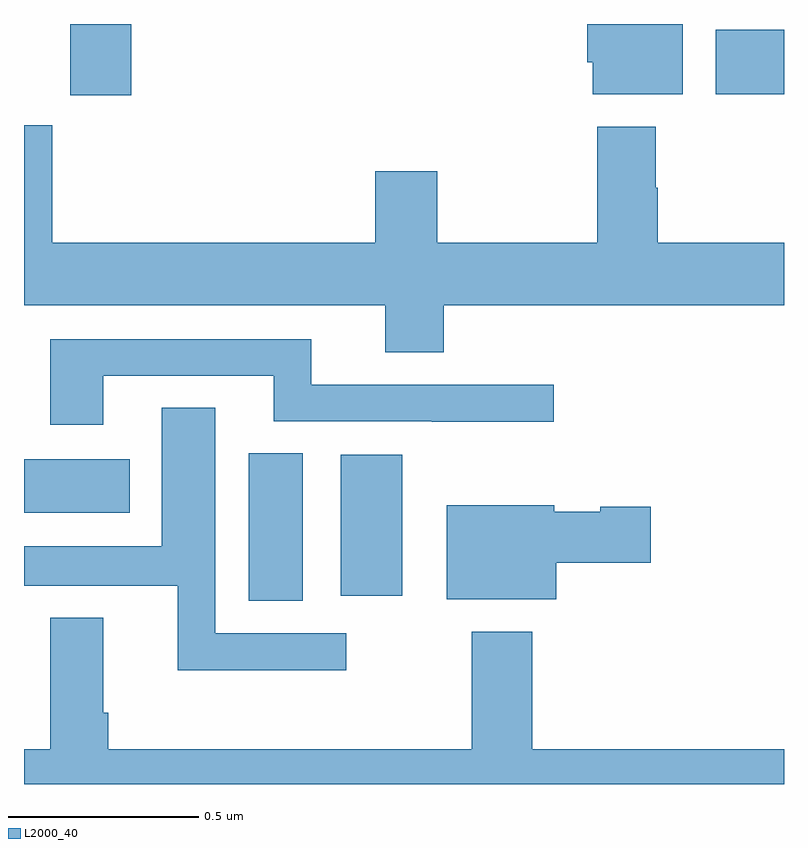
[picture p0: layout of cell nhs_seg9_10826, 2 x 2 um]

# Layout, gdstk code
import gdstk
lib = gdstk.Library(unit=1e-6, precision=1e-09)
def R(c, l, rs):  # rectangles x0, y0, x1, y1
    for r in rs: c.add(gdstk.rectangle(r[:2], r[2:], *l))
def P(c, l, *ps):  # polygons
    for p in ps: c.add(gdstk.Polygon(p, *l))
L2000_40 = (2000, 40)

nhs_seg9_10826 = lib.new_cell('nhs_seg9_10826')
R(nhs_seg9_10826, L2000_40, [(248.591,1188.982,248.734,1189.37), (248.834,1188.996,248.995,1189.366), (248,1189.214,248.278,1189.354), (248.122,1190.313,248.282,1190.5), (249.821,1190.315,250,1190.485)])
P(nhs_seg9_10826, L2000_40, [(249.733,1190.5),(249.482,1190.5),(249.482,1190.4),(249.497,1190.4),(249.497,1190.315),(249.733,1190.315)],
  [(248.924,1190.113),(248.924,1189.924),(248.074,1189.924),(248.074,1190.233),(248,1190.233),(248,1189.76),(248.951,1189.76),(248.951,1189.636),(249.104,1189.636),(249.104,1189.76),(250,1189.76),(250,1189.924),(249.668,1189.924),(249.668,1190.069),(249.663,1190.069),(249.663,1190.23),(249.508,1190.23),(249.508,1189.924),(249.088,1189.924),(249.088,1190.113)],
  [(248.209,1189.575),(248.657,1189.575),(248.657,1189.455),(249.073,1189.455),(249.073,1189.453),(249.394,1189.453),(249.394,1189.551),(248.756,1189.551),(248.756,1189.671),(248.069,1189.671),(248.069,1189.446),(248.209,1189.446)],
  [(248.848,1188.897),(248.503,1188.897),(248.503,1189.49),(248.363,1189.49),(248.363,1189.126),(248,1189.126),(248,1189.022),(248.405,1189.022),(248.405,1188.8),(248.848,1188.8)],
  [(249.4,1189.082),(249.649,1189.082),(249.649,1189.229),(249.516,1189.229),(249.516,1189.216),(249.396,1189.216),(249.396,1189.234),(249.113,1189.234),(249.113,1188.986),(249.4,1188.986)],
  [(250,1188.592),(249.338,1188.592),(249.338,1188.901),(249.178,1188.901),(249.178,1188.592),(248.222,1188.592),(248.222,1188.688),(248.209,1188.688),(248.209,1188.937),(248.069,1188.937),(248.069,1188.592),(248,1188.592),(248,1188.5),(250,1188.5)])

lib.write_gds('nhs_seg9_10826.gds')
